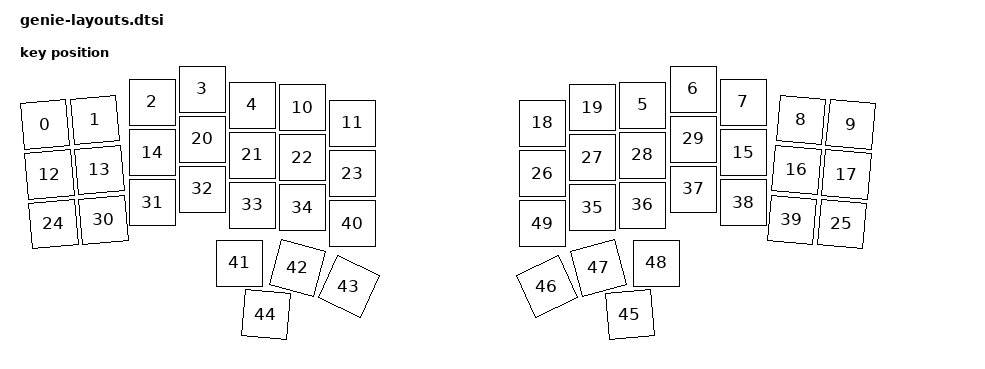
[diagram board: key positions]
#include <physical_layouts.dtsi>

/ {
    physical_layout0: physical_layout_0 {
        compatible = "zmk,physical-layout";
        display-name = "LAYOUT";

        kscan = <&kscan0>;
        transform = <&matrix_transform0>;

        keys  //                     w   h    x    y     rot    rx    ry
            = <&key_physical_attrs 100 100    0   71  (-500)    50   121>
            , <&key_physical_attrs 100 100  100   62  (-500)   150   112>
            , <&key_physical_attrs 100 100  215   26       0     0     0>
            , <&key_physical_attrs 100 100  315    0       0     0     0>
            , <&key_physical_attrs 100 100  415   32       0     0     0>
            , <&key_physical_attrs 100 100 1196   32       0     0     0>
            , <&key_physical_attrs 100 100 1297    0       0     0     0>
            , <&key_physical_attrs 100 100 1397   26       0     0     0>
            , <&key_physical_attrs 100 100 1512   62     500  1562   112>
            , <&key_physical_attrs 100 100 1612   71     500  1662   121>
            , <&key_physical_attrs 100 100  516   37       0     0     0>
            , <&key_physical_attrs 100 100  616   68       0     0     0>
            , <&key_physical_attrs 100 100    9  171  (-500)    59   221>
            , <&key_physical_attrs 100 100  109  162  (-500)   159   212>
            , <&key_physical_attrs 100 100  215  127       0     0     0>
            , <&key_physical_attrs 100 100 1397  127       0     0     0>
            , <&key_physical_attrs 100 100 1503  162     500  1553   212>
            , <&key_physical_attrs 100 100 1603  171     500  1653   221>
            , <&key_physical_attrs 100 100  996   68       0     0     0>
            , <&key_physical_attrs 100 100 1096   37       0     0     0>
            , <&key_physical_attrs 100 100  315  100       0     0     0>
            , <&key_physical_attrs 100 100  415  132       0     0     0>
            , <&key_physical_attrs 100 100  516  137       0     0     0>
            , <&key_physical_attrs 100 100  616  169       0     0     0>
            , <&key_physical_attrs 100 100   17  270  (-500)    67   320>
            , <&key_physical_attrs 100 100 1594  270     500  1644   320>
            , <&key_physical_attrs 100 100  996  169       0     0     0>
            , <&key_physical_attrs 100 100 1096  137       0     0     0>
            , <&key_physical_attrs 100 100 1196  132       0     0     0>
            , <&key_physical_attrs 100 100 1297  100       0     0     0>
            , <&key_physical_attrs 100 100  117  262  (-500)   167   312>
            , <&key_physical_attrs 100 100  215  227       0     0     0>
            , <&key_physical_attrs 100 100  315  200       0     0     0>
            , <&key_physical_attrs 100 100  415  232       0     0     0>
            , <&key_physical_attrs 100 100  516  237       0     0     0>
            , <&key_physical_attrs 100 100 1096  237       0     0     0>
            , <&key_physical_attrs 100 100 1196  232       0     0     0>
            , <&key_physical_attrs 100 100 1297  200       0     0     0>
            , <&key_physical_attrs 100 100 1397  227       0     0     0>
            , <&key_physical_attrs 100 100 1494  262     500  1544   312>
            , <&key_physical_attrs 100 100  616  269       0     0     0>
            , <&key_physical_attrs 100 100  389  348       0     0     0>
            , <&key_physical_attrs 100 100  505  358    1500   555   408>
            , <&key_physical_attrs 100 100  608  395    2500   658   445>
            , <&key_physical_attrs 100 100  442  451     500   492   501>
            , <&key_physical_attrs 100 100 1170  451  (-500)  1220   501>
            , <&key_physical_attrs 100 100 1004  395 (-2500)  1054   445>
            , <&key_physical_attrs 100 100 1107  358 (-1500)  1157   408>
            , <&key_physical_attrs 100 100 1223  348       0     0     0>
            , <&key_physical_attrs 100 100  996  269       0     0     0>
            ;
    };
};
